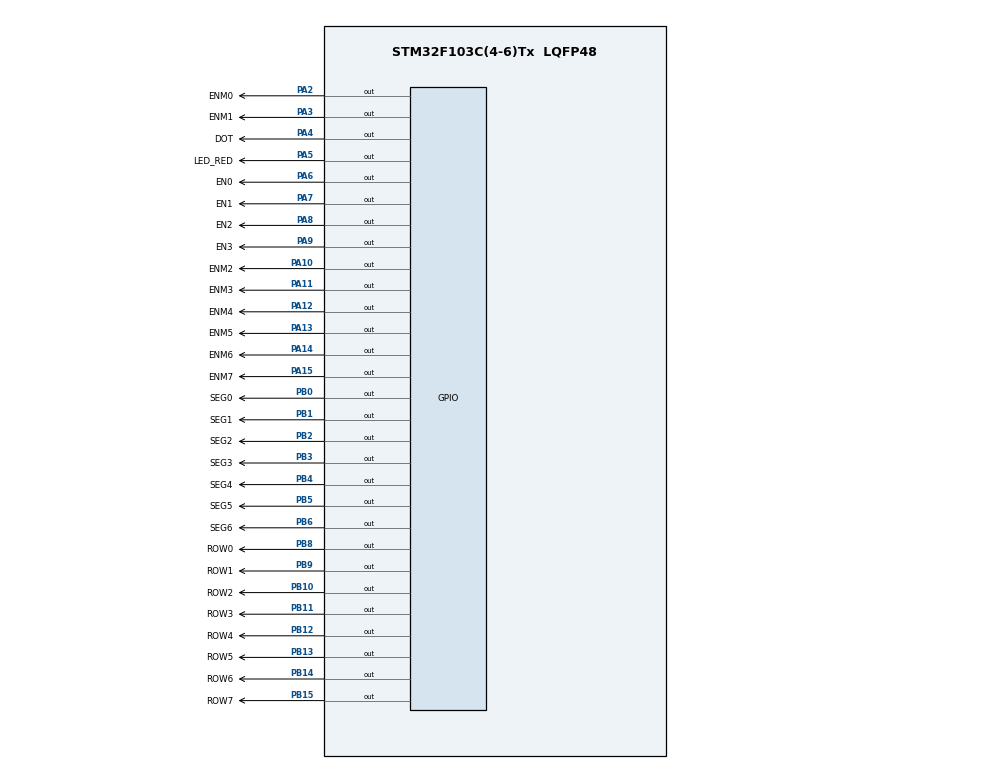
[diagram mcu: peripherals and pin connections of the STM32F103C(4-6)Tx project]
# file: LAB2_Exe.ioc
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Mcu.Family=STM32F1
Mcu.Name=STM32F103C(4-6)Tx
Mcu.Package=LQFP48
NVIC.PriorityGroup=NVIC_PRIORITYGROUP_4
NVIC.TIM2_IRQn=true\:0\:0\:false\:false\:true\:true\:true
PA10.GPIO_Label=ENM2
PA10.GPIO_Speed=GPIO_SPEED_FREQ_HIGH
PA10.Signal=GPIO_Output
PA11.GPIO_Label=ENM3
PA11.GPIO_Speed=GPIO_SPEED_FREQ_HIGH
PA11.Signal=GPIO_Output
PA12.GPIO_Label=ENM4
PA12.GPIO_Speed=GPIO_SPEED_FREQ_HIGH
PA12.Signal=GPIO_Output
PA13.GPIO_Label=ENM5
PA13.GPIO_Speed=GPIO_SPEED_FREQ_HIGH
PA13.Signal=GPIO_Output
PA14.GPIO_Label=ENM6
PA14.GPIO_Speed=GPIO_SPEED_FREQ_HIGH
PA14.Signal=GPIO_Output
PA15.GPIO_Label=ENM7
PA15.GPIO_Speed=GPIO_SPEED_FREQ_HIGH
PA15.Signal=GPIO_Output
PA2.GPIO_Label=ENM0
PA2.GPIO_Speed=GPIO_SPEED_FREQ_HIGH
PA2.PinState=GPIO_PIN_RESET
PA2.Signal=GPIO_Output
PA3.GPIO_Label=ENM1
PA3.GPIO_Speed=GPIO_SPEED_FREQ_HIGH
PA3.PinState=GPIO_PIN_RESET
PA3.Signal=GPIO_Output
PA4.GPIO_Label=DOT
PA4.GPIO_Speed=GPIO_SPEED_FREQ_HIGH
PA4.PinState=GPIO_PIN_RESET
PA4.Signal=GPIO_Output
PA5.GPIO_Label=LED_RED
PA5.GPIO_Speed=GPIO_SPEED_FREQ_HIGH
PA5.PinState=GPIO_PIN_RESET
PA5.Signal=GPIO_Output
PA6.GPIO_Label=EN0
PA6.GPIO_Speed=GPIO_SPEED_FREQ_HIGH
PA6.Signal=GPIO_Output
PA7.GPIO_Label=EN1
PA7.GPIO_Speed=GPIO_SPEED_FREQ_HIGH
PA7.Signal=GPIO_Output
PA8.GPIO_Label=EN2
PA8.GPIO_Speed=GPIO_SPEED_FREQ_HIGH
PA8.Signal=GPIO_Output
PA9.GPIO_Label=EN3
PA9.GPIO_Speed=GPIO_SPEED_FREQ_HIGH
PA9.Signal=GPIO_Output
PB0.GPIO_Label=SEG0
PB0.GPIO_Speed=GPIO_SPEED_FREQ_HIGH
PB0.Signal=GPIO_Output
PB1.GPIO_Label=SEG1
PB1.GPIO_Speed=GPIO_SPEED_FREQ_HIGH
PB1.Signal=GPIO_Output
PB10.GPIO_Label=ROW2
PB10.GPIO_Speed=GPIO_SPEED_FREQ_HIGH
PB10.Signal=GPIO_Output
PB11.GPIO_Label=ROW3
PB11.GPIO_Speed=GPIO_SPEED_FREQ_HIGH
PB11.Signal=GPIO_Output
PB12.GPIO_Label=ROW4
PB12.GPIO_Speed=GPIO_SPEED_FREQ_HIGH
PB12.Signal=GPIO_Output
PB13.GPIO_Label=ROW5
PB13.GPIO_Speed=GPIO_SPEED_FREQ_HIGH
PB13.Signal=GPIO_Output
PB14.GPIO_Label=ROW6
PB14.GPIO_Speed=GPIO_SPEED_FREQ_HIGH
PB14.Signal=GPIO_Output
PB15.GPIO_Label=ROW7
PB15.GPIO_Speed=GPIO_SPEED_FREQ_HIGH
PB15.Signal=GPIO_Output
PB2.GPIO_Label=SEG2
PB2.GPIO_Speed=GPIO_SPEED_FREQ_HIGH
PB2.Signal=GPIO_Output
PB3.GPIO_Label=SEG3
PB3.GPIO_Speed=GPIO_SPEED_FREQ_HIGH
PB3.Signal=GPIO_Output
PB4.GPIO_Label=SEG4
PB4.GPIO_Speed=GPIO_SPEED_FREQ_HIGH
PB4.PinState=GPIO_PIN_RESET
PB4.Signal=GPIO_Output
PB5.GPIO_Label=SEG5
PB5.GPIO_Speed=GPIO_SPEED_FREQ_HIGH
PB5.Signal=GPIO_Output
PB6.GPIO_Label=SEG6
PB6.GPIO_Speed=GPIO_SPEED_FREQ_HIGH
PB6.Signal=GPIO_Output
PB8.GPIO_Label=ROW0
PB8.GPIO_Speed=GPIO_SPEED_FREQ_HIGH
PB8.Signal=GPIO_Output
PB9.GPIO_Label=ROW1
PB9.GPIO_Speed=GPIO_SPEED_FREQ_HIGH
PB9.Signal=GPIO_Output
ProjectManager.HeapSize=0x200
ProjectManager.StackSize=0x400
ProjectManager.TargetToolchain=STM32CubeIDE
RCC.APB1Freq_Value=8000000
RCC.APB2Freq_Value=8000000
TIM2.Period=9
TIM2.Prescaler=7999
VP_SYS_VS_ND.Mode=No_Debug
VP_TIM2_VS_ClockSourceINT.Mode=Internal
board=custom

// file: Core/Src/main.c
/* USER CODE BEGIN Header */
/**
  ******************************************************************************
  * @file           : main.c
  * @brief          : Main program body
  ******************************************************************************
  * @attention
  *
  * <h2><center>&copy; Copyright (c) 2023 STMicroelectronics.
  * All rights reserved.</center></h2>
  *
  * This software component is licensed by ST under BSD 3-Clause license,
  * the "License"; You may not use this file except in compliance with the
  * License. You may obtain a copy of the License at:
  *                        opensource.org/licenses/BSD-3-Clause
  *
  ******************************************************************************
  */
/* USER CODE END Header */

#include "main.h"

/* USER CODE BEGIN Includes */
#include "software_timer.h"
/* USER CODE END Includes */

TIM_HandleTypeDef htim2;

void SystemClock_Config(void);
static void MX_GPIO_Init(void);
static void MX_TIM2_Init(void);

/* USER CODE BEGIN 0 */
const int MAX_LED_MATRIX = 8;
int index_led_matrix = 0;
uint8_t matrix_buffer [8] = {0xFF,0x80,0x00,0x33,0x33,0x00,0x80,0xFF}; // Scan "A"
int counter_to_left = 0; //Create a descending variable

/*turn off all led*/
void clearLEDMatrix(){
	HAL_GPIO_WritePin(GPIOA, ENM0_Pin|ENM1_Pin|ENM2_Pin|ENM3_Pin|ENM4_Pin|ENM5_Pin|ENM6_Pin|ENM7_Pin,GPIO_PIN_SET);
    HAL_GPIO_WritePin(GPIOB, ROW0_Pin|ROW1_Pin|ROW2_Pin|ROW3_Pin|ROW4_Pin|ROW5_Pin|ROW6_Pin|ROW7_Pin, GPIO_PIN_SET);
}

/* Set display ROW */
void setROW(int n){
	switch(n){
	case 1:
		HAL_GPIO_WritePin(GPIOB, ROW0_Pin, GPIO_PIN_RESET);
		break;
	case 2:
		HAL_GPIO_WritePin(GPIOB, ROW1_Pin, GPIO_PIN_RESET);
		break;
	case 4:
		HAL_GPIO_WritePin(GPIOB, ROW2_Pin, GPIO_PIN_RESET);
		break;
	case 8:
		HAL_GPIO_WritePin(GPIOB, ROW3_Pin, GPIO_PIN_RESET);
		break;
	case 16:
		HAL_GPIO_WritePin(GPIOB, ROW4_Pin, GPIO_PIN_RESET);
		break;
	case 32:
		HAL_GPIO_WritePin(GPIOB, ROW5_Pin, GPIO_PIN_RESET);
		break;
	case 64:
		HAL_GPIO_WritePin(GPIOB, ROW6_Pin, GPIO_PIN_RESET);
		break;
	case 128:
		HAL_GPIO_WritePin(GPIOB, ROW7_Pin, GPIO_PIN_RESET);
		break;
	}
}

/* Set display status of ROW */
void displayRowLEDMatrix(uint8_t status){
	int arr[8] = {1, 2, 4, 8, 16, 32, 64, 128};
	uint8_t a;
	for(int i = 7; i >= 0; i--){
		if(status % 2 == 1){
			a = 1;
		}
		else{
			a = 0;
		}
		if(a == 0) setROW(arr[i]);
		status = status >> 1;
		}
}

/* Set display led matrix
 * Sran LEDs by column
 * She character is shifted to the left by decrease "index"
 * counter_to_left Helps the LEDs of the columns move to the left
 */
void updateLEDMatrix(int index){
	for(int i = 0; i < 8; i++){
		if(i == index - counter_to_left){
			switch(i){
				case 0:
					HAL_GPIO_WritePin(GPIOA, ENM0_Pin, GPIO_PIN_RESET);
					displayRowLEDMatrix(matrix_buffer[index]);
					break;
				case 1:
					HAL_GPIO_WritePin(GPIOA, ENM1_Pin, GPIO_PIN_RESET);
					displayRowLEDMatrix(matrix_buffer[index]);
					break;
				case 2:
					HAL_GPIO_WritePin(GPIOA, ENM2_Pin, GPIO_PIN_RESET);
					displayRowLEDMatrix(matrix_buffer[index]);
					break;
				case 3:
					HAL_GPIO_WritePin(GPIOA, ENM3_Pin, GPIO_PIN_RESET);
					displayRowLEDMatrix(matrix_buffer[index]);
					break;
				case 4:
					HAL_GPIO_WritePin(GPIOA, ENM4_Pin, GPIO_PIN_RESET);
					displayRowLEDMatrix(matrix_buffer[index]);
					break;
				case 5:
					HAL_GPIO_WritePin(GPIOA, ENM5_Pin, GPIO_PIN_RESET);
					displayRowLEDMatrix(matrix_buffer[index]);
					break;
				case 6:
					HAL_GPIO_WritePin(GPIOA, ENM6_Pin, GPIO_PIN_RESET);
					displayRowLEDMatrix(matrix_buffer[index]);
					break;
				case 7:
					HAL_GPIO_WritePin(GPIOA, ENM7_Pin, GPIO_PIN_RESET);
					displayRowLEDMatrix(matrix_buffer[index]);
					break;
				default:
					break;
					}
		}
	}
}
/* USER CODE END 0 */

int main(void)
{

  /* MCU Configuration--------------------------------------------------------*/

  /* Reset of all peripherals, Initializes the Flash interface and the Systick. */
  HAL_Init();

  /* Configure the system clock */
  SystemClock_Config();

  /* Initialize all configured peripherals */
  MX_GPIO_Init();
  MX_TIM2_Init();
  /* USER CODE BEGIN 2 */
  HAL_TIM_Base_Start_IT(&htim2);
  /* USER CODE END 2 */

  /* Infinite loop */
  /* USER CODE BEGIN WHILE */
  setTimer1(1);
  setTimer2(50);
  while (1)
  {
    /* USER CODE END WHILE */
	  if(timer1_flag == 1){
		  clearLEDMatrix();
		  updateLEDMatrix(index_led_matrix++);
		  if(index_led_matrix > 7) index_led_matrix = 0;
		  setTimer1(1);
	  }
	  /* The character is shifted to the left comes to an end and appears on the right */
	  if(timer2_flag == 1){
		  counter_to_left++;
		  if(counter_to_left > 8) counter_to_left = -7;
		  setTimer2(50); //set speed move to left
	  }
  }
}

void SystemClock_Config(void)
{
  RCC_OscInitTypeDef RCC_OscInitStruct = {0};
  RCC_ClkInitTypeDef RCC_ClkInitStruct = {0};

  /** Initializes the RCC Oscillators according to the specified parameters
  * in the RCC_OscInitTypeDef structure.
  */
  RCC_OscInitStruct.OscillatorType = RCC_OSCILLATORTYPE_HSI;
  RCC_OscInitStruct.HSIState = RCC_HSI_ON;
  RCC_OscInitStruct.HSICalibrationValue = RCC_HSICALIBRATION_DEFAULT;
  RCC_OscInitStruct.PLL.PLLState = RCC_PLL_NONE;
  if (HAL_RCC_OscConfig(&RCC_OscInitStruct) != HAL_OK)
  {
    Error_Handler();
  }
  /** Initializes the CPU, AHB and APB buses clocks
  */
  RCC_ClkInitStruct.ClockType = RCC_CLOCKTYPE_HCLK|RCC_CLOCKTYPE_SYSCLK
                              |RCC_CLOCKTYPE_PCLK1|RCC_CLOCKTYPE_PCLK2;
  RCC_ClkInitStruct.SYSCLKSource = RCC_SYSCLKSOURCE_HSI;
  RCC_ClkInitStruct.AHBCLKDivider = RCC_SYSCLK_DIV1;
  RCC_ClkInitStruct.APB1CLKDivider = RCC_HCLK_DIV1;
  RCC_ClkInitStruct.APB2CLKDivider = RCC_HCLK_DIV1;

  if (HAL_RCC_ClockConfig(&RCC_ClkInitStruct, FLASH_LATENCY_0) != HAL_OK)
  {
    Error_Handler();
  }
}

static void MX_TIM2_Init(void)
{

  TIM_ClockConfigTypeDef sClockSourceConfig = {0};
  TIM_MasterConfigTypeDef sMasterConfig = {0};

  htim2.Instance = TIM2;
  htim2.Init.Prescaler = 7999;
  htim2.Init.CounterMode = TIM_COUNTERMODE_UP;
  htim2.Init.Period = 9;
  htim2.Init.ClockDivision = TIM_CLOCKDIVISION_DIV1;
  htim2.Init.AutoReloadPreload = TIM_AUTORELOAD_PRELOAD_DISABLE;
  if (HAL_TIM_Base_Init(&htim2) != HAL_OK)
  {
    Error_Handler();
  }
  sClockSourceConfig.ClockSource = TIM_CLOCKSOURCE_INTERNAL;
  if (HAL_TIM_ConfigClockSource(&htim2, &sClockSourceConfig) != HAL_OK)
  {
    Error_Handler();
  }
  sMasterConfig.MasterOutputTrigger = TIM_TRGO_RESET;
  sMasterConfig.MasterSlaveMode = TIM_MASTERSLAVEMODE_DISABLE;
  if (HAL_TIMEx_MasterConfigSynchronization(&htim2, &sMasterConfig) != HAL_OK)
  {
    Error_Handler();
  }

}

static void MX_GPIO_Init(void)
{
  GPIO_InitTypeDef GPIO_InitStruct = {0};

  /* GPIO Ports Clock Enable */
  __HAL_RCC_GPIOA_CLK_ENABLE();
  __HAL_RCC_GPIOB_CLK_ENABLE();

  /*Configure GPIO pin Output Level */
  HAL_GPIO_WritePin(GPIOA, ENM0_Pin|ENM1_Pin|DOT_Pin|LED_RED_Pin
                          |EN0_Pin|EN1_Pin|EN2_Pin|EN3_Pin
                          |ENM2_Pin|ENM3_Pin|ENM4_Pin|ENM5_Pin
                          |ENM6_Pin|ENM7_Pin, GPIO_PIN_RESET);

  /*Configure GPIO pin Output Level */
  HAL_GPIO_WritePin(GPIOB, SEG0_Pin|SEG1_Pin|SEG2_Pin|ROW2_Pin
                          |ROW3_Pin|ROW4_Pin|ROW5_Pin|ROW6_Pin
                          |ROW7_Pin|SEG3_Pin|SEG4_Pin|SEG5_Pin
                          |SEG6_Pin|ROW0_Pin|ROW1_Pin, GPIO_PIN_RESET);

  /*Configure GPIO pins : ENM0_Pin ENM1_Pin DOT_Pin LED_RED_Pin
                           EN0_Pin EN1_Pin EN2_Pin EN3_Pin
                           ENM2_Pin ENM3_Pin ENM4_Pin ENM5_Pin
                           ENM6_Pin ENM7_Pin */
  GPIO_InitStruct.Pin = ENM0_Pin|ENM1_Pin|DOT_Pin|LED_RED_Pin
                          |EN0_Pin|EN1_Pin|EN2_Pin|EN3_Pin
                          |ENM2_Pin|ENM3_Pin|ENM4_Pin|ENM5_Pin
                          |ENM6_Pin|ENM7_Pin;
  GPIO_InitStruct.Mode = GPIO_MODE_OUTPUT_PP;
  GPIO_InitStruct.Pull = GPIO_NOPULL;
  GPIO_InitStruct.Speed = GPIO_SPEED_FREQ_HIGH;
  HAL_GPIO_Init(GPIOA, &GPIO_InitStruct);

  /*Configure GPIO pins : SEG0_Pin SEG1_Pin SEG2_Pin ROW2_Pin
                           ROW3_Pin ROW4_Pin ROW5_Pin ROW6_Pin
                           ROW7_Pin SEG3_Pin SEG4_Pin SEG5_Pin
                           SEG6_Pin ROW0_Pin ROW1_Pin */
  GPIO_InitStruct.Pin = SEG0_Pin|SEG1_Pin|SEG2_Pin|ROW2_Pin
                          |ROW3_Pin|ROW4_Pin|ROW5_Pin|ROW6_Pin
                          |ROW7_Pin|SEG3_Pin|SEG4_Pin|SEG5_Pin
                          |SEG6_Pin|ROW0_Pin|ROW1_Pin;
  GPIO_InitStruct.Mode = GPIO_MODE_OUTPUT_PP;
  GPIO_InitStruct.Pull = GPIO_NOPULL;
  GPIO_InitStruct.Speed = GPIO_SPEED_FREQ_HIGH;
  HAL_GPIO_Init(GPIOB, &GPIO_InitStruct);

}

/* USER CODE BEGIN 4 */
void HAL_TIM_PeriodElapsedCallback(TIM_HandleTypeDef *htim){
	timerRun();
}
/* USER CODE END 4 */

void Error_Handler(void)
{
  __disable_irq();
  while (1)
  {
  }
}

/************************ (C) COPYRIGHT STMicroelectronics *****END OF FILE****/
